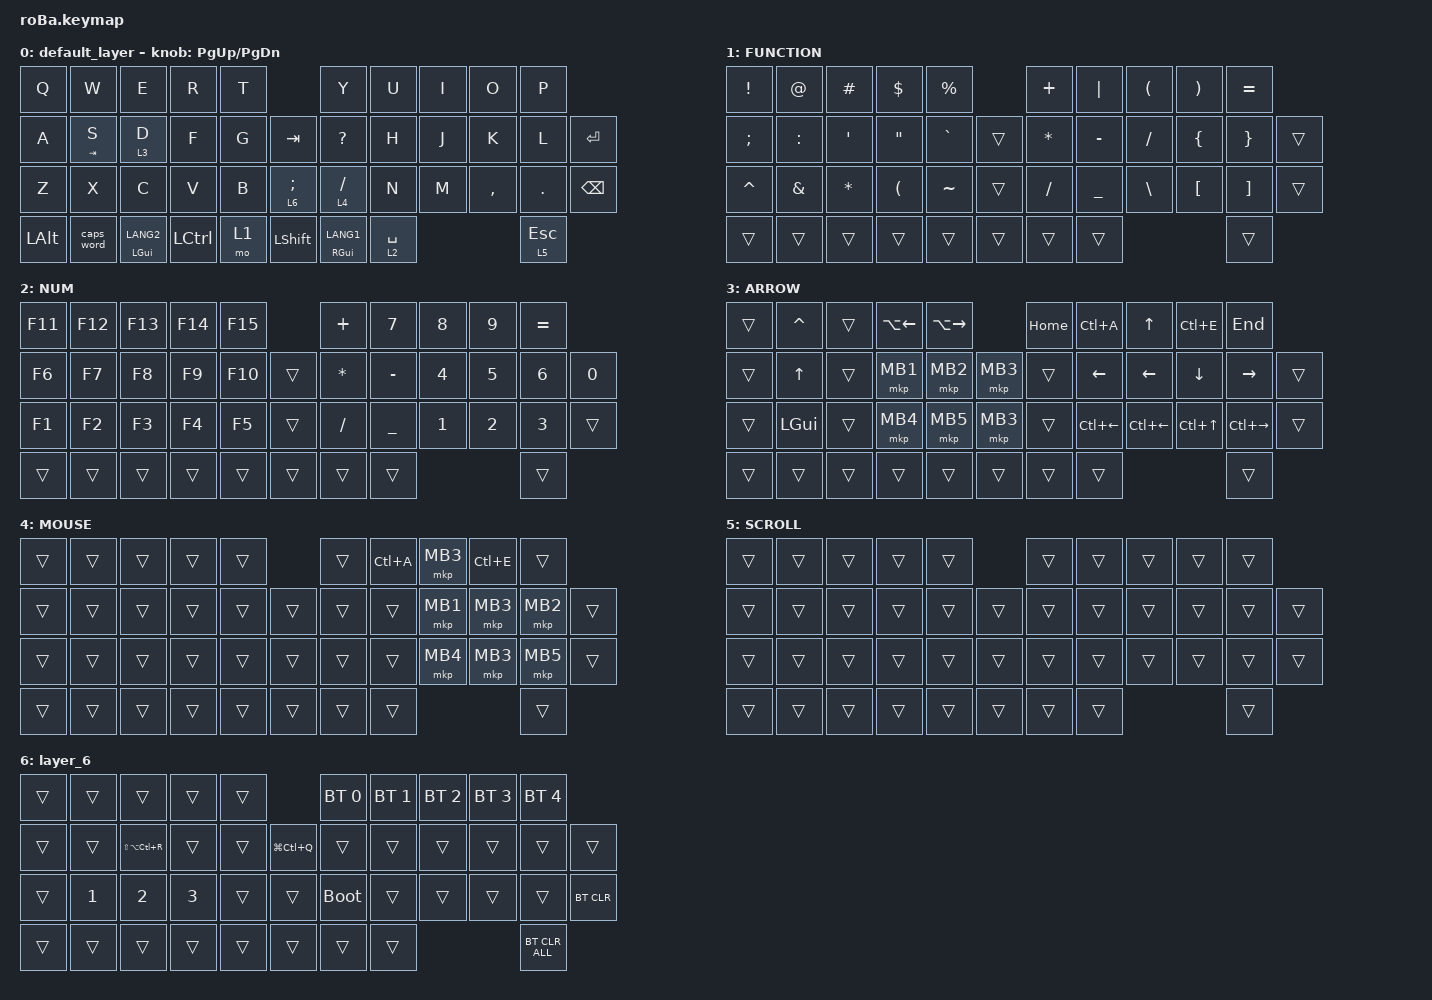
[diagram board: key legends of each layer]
#include <behaviors.dtsi>
#include <dt-bindings/zmk/bt.h>
#include <dt-bindings/zmk/keys.h>
#include <dt-bindings/zmk/pointing.h>

&mt {
    flavor = "balanced";
    quick-tap-ms = <0>;
};

&trackball {
    automouse-layer = <4>;
    scroll-layers = <5>;
};

/ {
    combos {
        compatible = "zmk,combos";

        tab {
            bindings = <&kp TAB>;
            key-positions = <11 12>;
        };

        shift_tab {
            bindings = <&kp LS(TAB)>;
            key-positions = <12 13>;
        };

        double_quotation {
            bindings = <&kp DOUBLE_QUOTES>;
            key-positions = <20 21>;
        };

        eq {
            bindings = <&kp EQUAL>;
            key-positions = <24 25>;
        };
    };

    macros {
        to_layer_0: to_layer_0 {
            compatible = "zmk,behavior-macro-one-param";
            #binding-cells = <1>;
            bindings = <&to 0 &macro_param_1to1 &kp MACRO_PLACEHOLDER>;
            label = "TO_LAYER_0";
        };
    };

    behaviors {
        lt_to_layer_0: lt_to_layer_0 {
            compatible = "zmk,behavior-hold-tap";
            label = "LAYER_TAP_TO_0";
            bindings = <&mo>, <&to_layer_0>;

            #binding-cells = <2>;
            tapping-term-ms = <200>;
        };

        lt_d: layer_tap_d {
            compatible = "zmk,behavior-hold-tap";
            label = "LAYER_TAP_D";
            bindings = <&mo>, <&kp>;

            #binding-cells = <2>;
            flavor = "tap-preferred";
            tapping-term-ms = <500>;
            quick-tap-ms = <125>;
        };
    };

    keymap {
        compatible = "zmk,keymap";

        default_layer {
            bindings = <
&kp Q		&kp W		&kp E		&kp R		&kp T								&kp Y		&kp U		&kp I		&kp O		&kp P
&kp A		&mt TAB S	&lt_d 3 D	&kp F		&kp G		&kp TAB			&kp QUESTION		&kp H		&kp J		&kp K		&kp L		&kp RET
&kp Z		&kp X		&kp C		&kp V		&kp B		&lt_to_layer_0 6 SEMI		&lt_to_layer_0 4 SLASH	&kp N		&kp M		&kp COMMA	&kp DOT		&kp BSPC
&kp LALT	&caps_word	&mt LGUI LANG2	&kp LCTRL	&mo 1		&kp LSHFT		&mt RGUI LANG1		&lt 2 SPACE						&lt 5 ESC
            >;

            sensor-bindings = <&inc_dec_kp PG_UP PAGE_DOWN>;
        };

        FUNCTION {
            bindings = <
&kp EXCL	&kp AT		&kp HASH	&kp DOLLAR	&kp PERCENT						&kp PLUS	&kp PIPE	&kp LPAR	&kp RPAR	&kp EQUAL
&kp SEMI	&kp COLON	&kp SQT		&kp DQT		&kp GRAVE	&trans			&kp STAR	&kp MINUS	&kp FSLH	&kp LBRC	&kp RBRC	&trans
&kp CARET	&kp AMPS	&kp STAR	&kp LPAR	&kp TILDE	&trans			&kp FSLH	&kp UNDER	&kp BSLH	&kp LBKT	&kp RBKT	&trans
&trans		&trans		&trans		&trans		&trans		&trans			&trans		&trans								&trans
            >;
        };

        NUM {
            bindings = <
&kp F11		&kp F12		&kp F13		&kp F14		&kp F15							&kp PLUS	&kp N7		&kp N8		&kp N9		&kp EQUAL
&kp F6		&kp F7		&kp F8		&kp F9		&kp F10		&trans			&kp STAR	&kp MINUS	&kp N4		&kp N5		&kp N6		&kp N0
&kp F1		&kp F2		&kp F3		&kp F4		&kp F5		&trans			&kp FSLH	&kp UNDER	&kp N1		&kp N2		&kp N3		&trans
&trans		&trans		&trans		&trans		&trans		&trans			&trans		&trans								&trans
            >;
        };

        ARROW {
            bindings = <
&trans		&kp CARET	&trans		&kp LA(LEFT)	&kp LA(RIGHT)						&kp HOME	&kp LC(A)	&kp UP		&kp LC(E)	&kp END
&trans		&kp UP		&trans		&mkp MB1	&mkp MB2	&mkp MB3		&trans		&kp LEFT	&kp LEFT	&kp DOWN	&kp RIGHT	&trans
&trans		&kp LGUI	&trans		&mkp MB4	&mkp MB5	&mkp MB3		&trans		&kp LC(LEFT)	&kp LC(LEFT)	&kp LC(UP)	&kp LC(RIGHT)	&trans
&trans		&trans		&trans		&trans		&trans		&trans			&trans		&trans								&trans
            >;
        };

        MOUSE {
            bindings = <
&trans		&trans		&trans		&trans		&trans							&trans		&kp LC(A)	&mkp MB3	&kp LC(E)	&trans
&trans		&trans		&trans		&trans		&trans		&trans			&trans		&trans		&mkp MB1	&mkp MB3	&mkp MB2	&trans
&trans		&trans		&trans		&trans		&trans		&trans			&trans		&trans		&mkp MB4	&mkp MB3	&mkp MB5	&trans
&trans		&trans		&trans		&trans		&trans		&trans			&trans		&trans								&trans
            >;
        };

        SCROLL {
            bindings = <
&trans		&trans		&trans		&trans		&trans							&trans		&trans		&trans		&trans		&trans
&trans		&trans		&trans		&trans		&trans		&trans			&trans		&trans		&trans		&trans		&trans		&trans
&trans		&trans		&trans		&trans		&trans		&trans			&trans		&trans		&trans		&trans		&trans		&trans
&trans		&trans		&trans		&trans		&trans		&trans			&trans		&trans								&trans
            >;
        };

        layer_6 {
            bindings = <
&trans		&trans		&trans			&trans		&trans							&bt BT_SEL 0	&bt BT_SEL 1	&bt BT_SEL 2	&bt BT_SEL 3	&bt BT_SEL 4
&trans		&trans		&kp LS(LA(LC(R)))	&trans		&trans		&kp LG(LC(Q))		&trans		&trans		&trans		&trans		&trans		&trans
&trans		&kp N1		&kp N2			&kp N3		&trans		&trans			&bootloader	&trans		&trans		&trans		&trans		&bt BT_CLR
&trans		&trans		&trans			&trans		&trans		&trans			&trans		&trans								&bt BT_CLR_ALL
            >;
        };
    };
};
